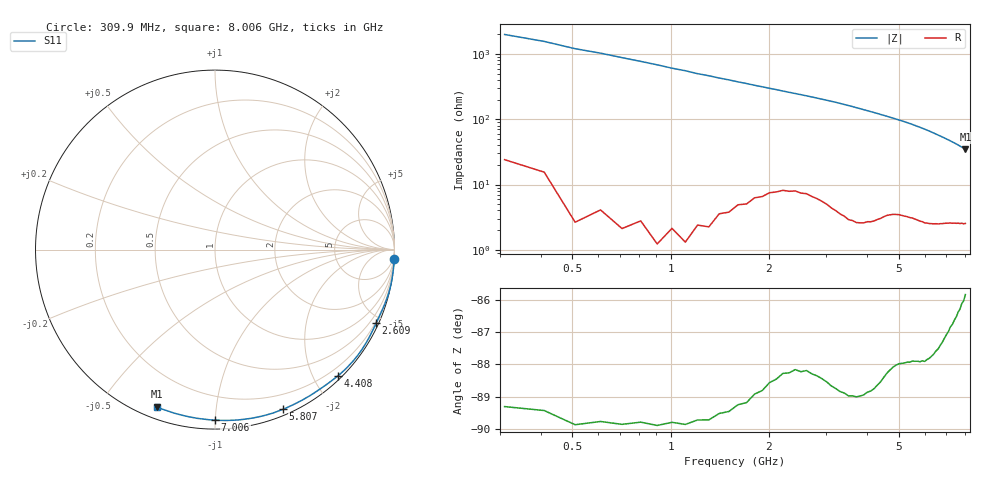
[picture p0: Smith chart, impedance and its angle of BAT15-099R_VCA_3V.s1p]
! Infineon Technologies  Discrete & RF Semiconductors
! BAT15-099R
! VCA = 3 V
! One-Port S-Parameters
# Hz  S  MA  R  50
!f  S11
!Hz  Mag  Ang
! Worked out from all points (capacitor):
!   78 points, 309.9 MHz to 8.006 GHz, reference 50 ohm
!   read as one part to ground: C = 257 fF near 309.9 MHz
!   lowest |Z| = 34.8 ohm at 8.006 GHz (marker M1)
!   S11 on the Smith chart (normalised r, x): 309.9 MHz: 0, -40; 2.609 GHz: 0.14, -4.58; 4.408 GHz: 0.06, -2.37; 5.807 GHz: 0.05, -1.51; 7.006 GHz: 0.05, -1.00; 8.006 GHz: 0.05, -0.69
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3.0985e8  0.9994 -2.9
4.098e8  0.9994 -3.7
5.0975e8  0.9998 -4.7
9.0955e8  0.9997 -8.3
1.30935e9  0.999 -12.3
1.70915e9  0.9961 -16.1
2.30885e9  0.9888 -21.8
2.6087e9  0.9869 -24.6
3.2084e9  0.9889 -30.6
3.50825e9  0.99 -34.2
3.70815e9  0.9897 -36.6
4.2079e9  0.9852 -43.0
4.4078e9  0.9818 -45.7
4.8076e9  0.9742 -51.2
5.2074e9  0.9705 -57.0
5.50725e9  0.9681 -61.8
5.8071e9  0.9671 -67.0
6.007e9  0.9662 -70.5
6.10695e9  0.9648 -72.4
6.4068e9  0.961 -78.2
6.6067e9  0.958 -82.2
6.8066e9  0.9542 -86.1
7.0065e9  0.9502 -90.0
7.10645e9  0.9485 -92.0
7.30635e9  0.9452 -96.0
7.50625e9  0.942 -100.0
7.70615e9  0.939 -104.2
8.006e9  0.934 -110.4
